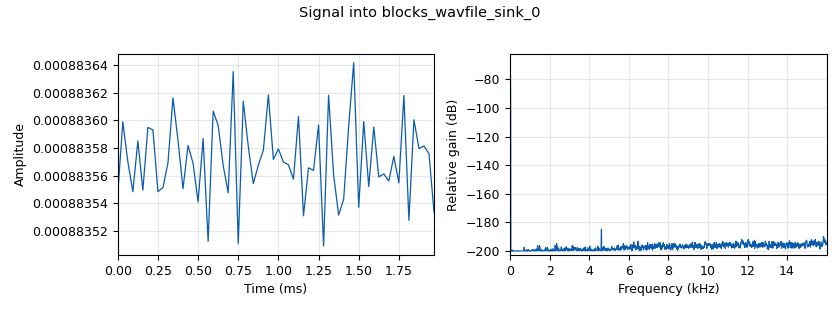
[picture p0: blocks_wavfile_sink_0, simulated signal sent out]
<?xml version='1.0' encoding='utf-8'?>
<?grc format='1' created='3.7.11'?>
<flow_graph>
<block>
<key>options</key>
<param><key>id</key><value>top_block</value></param>
<param><key>generate_options</key><value>no_gui</value></param>
</block>
<block>
<key>variable</key>
<param><key>id</key><value>samp_rate</value></param>
<param><key>value</key><value>32000</value></param>
</block>
<block>
<key>analog_sig_source_x</key>
<param><key>id</key><value>analog_sig_source_x_0</value></param>
<param><key>amp</key><value>1</value></param>
<param><key>freq</key><value>4.5</value></param>
<param><key>offset</key><value>0</value></param>
<param><key>type</key><value>complex</value></param>
<param><key>samp_rate</key><value>samp_rate</value></param>
<param><key>waveform</key><value>analog.GR_SIN_WAVE</value></param>
</block>
<block>
<key>analog_quadrature_demod_cf</key>
<param><key>id</key><value>analog_quadrature_demod_cf_0</value></param>
<param><key>gain</key><value>1.0</value></param>
</block>
<block>
<key>blocks_wavfile_sink</key>
<param><key>id</key><value>blocks_wavfile_sink_0</value></param>
<param><key>filename</key><value>paranoia_audio.wav</value></param>
<param><key>samplerate</key><value>samp_rate</value></param>
<param><key>nchannels</key><value>1</value></param>
</block>
<block>
<key>osmosdr_sink</key>
<param><key>id</key><value>osmosdr_sink_0</value></param>
<param><key>bb_gain0</key><value>20</value></param>
<param><key>freq0</key><value>1890e6</value></param>
<param><key>if_gain0</key><value>20</value></param>
<param><key>gain0</key><value>60</value></param>
<param><key>args</key><value></value></param>
<param><key>type</key><value>fc32</value></param>
<param><key>sample_rate</key><value>samp_rate</value></param>
<param><key>sync</key><value></value></param>
</block>
<connection><source_block_id>analog_sig_source_x_0</source_block_id><sink_block_id>analog_quadrature_demod_cf_0</sink_block_id><source_key>0</source_key><sink_key>0</sink_key></connection>
<connection><source_block_id>analog_quadrature_demod_cf_0</source_block_id><sink_block_id>blocks_wavfile_sink_0</sink_block_id><source_key>0</source_key><sink_key>0</sink_key></connection>
</flow_graph>
